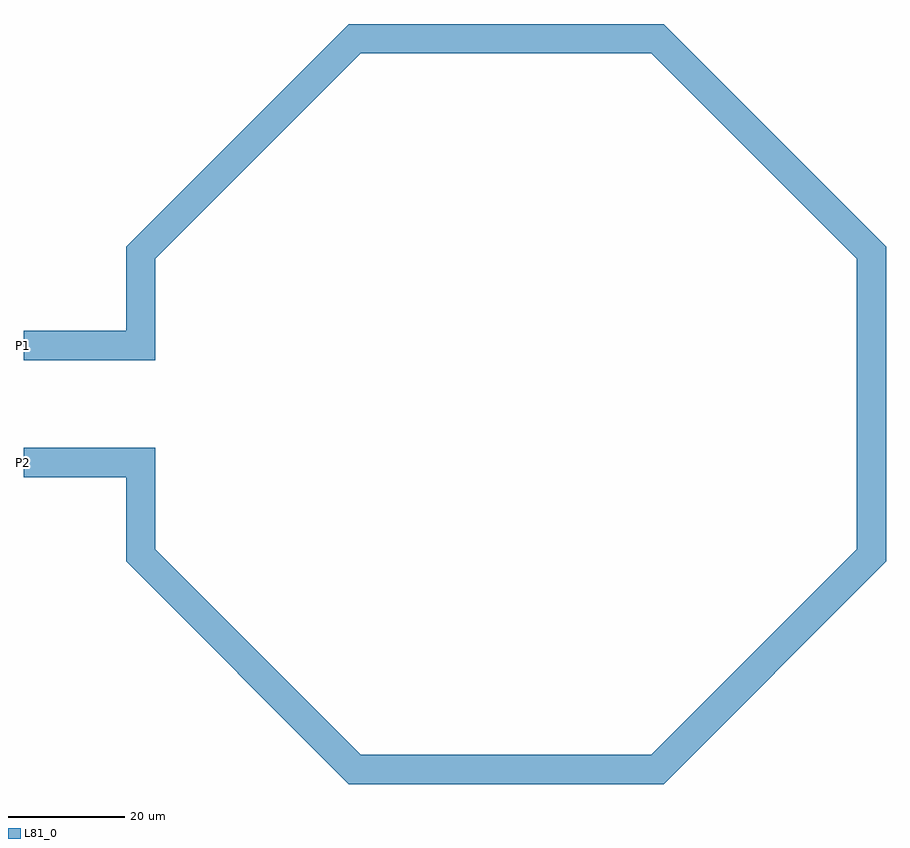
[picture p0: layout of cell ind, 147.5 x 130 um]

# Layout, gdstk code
import gdstk
lib = gdstk.Library(unit=1e-6, precision=5e-09)
L81_0 = (81, 0)

ind = lib.new_cell('ind')
ind.add(gdstk.FlexPath([(-20,-10),(0,-10),(0,-25.89),(36.61,-62.5),(88.39,-62.5),(125,-25.89),(125,0)], 5, ends="flush", simple_path=True, layer=81, datatype=0))  # L81_0
ind.add(gdstk.FlexPath([(-20,10),(0,10),(0,25.89),(36.61,62.5),(88.39,62.5),(125,25.89),(125,0)], 5, ends="flush", simple_path=True, layer=81, datatype=0))  # L81_0
ind.add(gdstk.Label('P1', (-20,10), layer=81, texttype=0))
ind.add(gdstk.Label('P2', (-20,-10), layer=81, texttype=0))

lib.write_gds('ind.gds')
